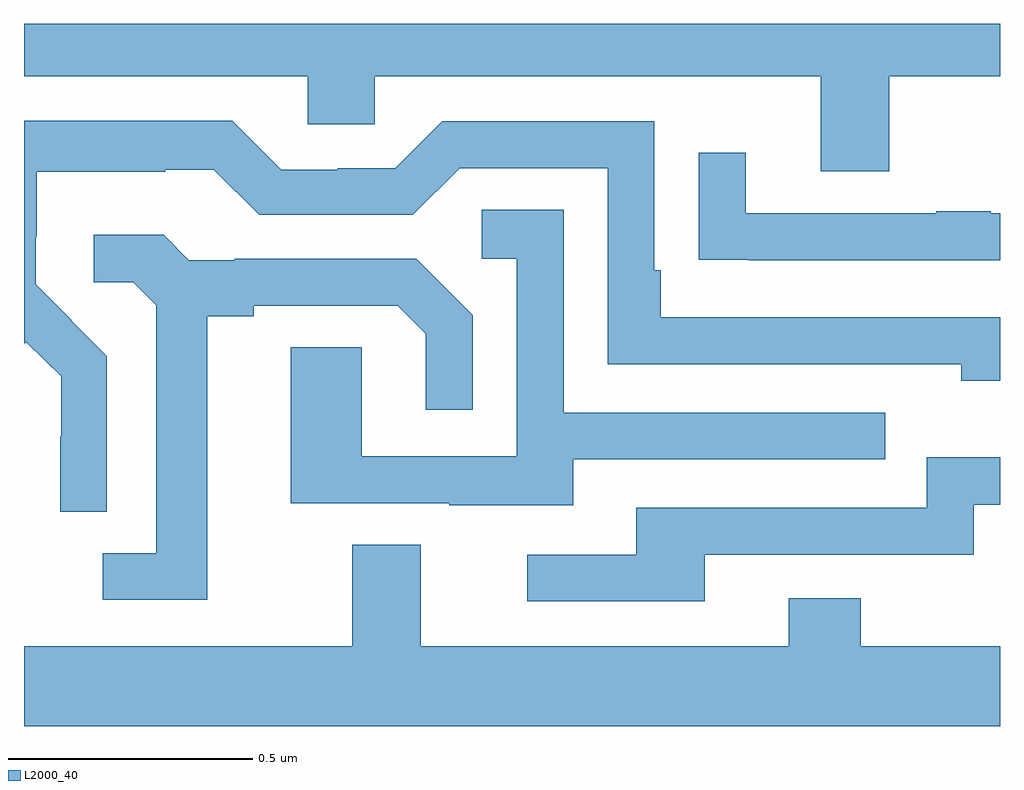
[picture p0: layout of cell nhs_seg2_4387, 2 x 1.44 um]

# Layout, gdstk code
import gdstk
lib = gdstk.Library(unit=1e-6, precision=1e-09)
def P(c, l, *ps):  # polygons
    for p in ps: c.add(gdstk.Polygon(p, *l))
L2000_40 = (2000, 40)

nhs_seg2_4387 = lib.new_cell('nhs_seg2_4387')
P(nhs_seg2_4387, L2000_40, [(166,591.692),(166.581,591.692),(166.581,591.594),(166.719,591.594),(166.719,591.692),(167.633,591.692),(167.633,591.498),(167.773,591.498),(167.773,591.692),(168,591.692),(168,591.8),(166,591.8)],
  [(166.17,591.118),(166.097,591.191),(166.098,591.192),(166.024,591.266),(166.024,591.363),(166.026,591.363),(166.026,591.497),(166.289,591.497),(166.289,591.501),(166.389,591.501),(166.482,591.408),(166.797,591.408),(166.893,591.504),(167.196,591.504),(167.196,591.102),(167.921,591.102),(167.921,591.068),(168,591.068),(168,591.198),(167.305,591.198),(167.305,591.295),(167.292,591.295),(167.292,591.6),(166.857,591.6),(166.761,591.504),(166.643,591.504),(166.643,591.501),(166.527,591.501),(166.427,591.601),(166,591.601),(166,591.146),(166.002,591.144),(166.005,591.147),(166.076,591.077),(166.076,590.954),(166.074,590.954),(166.074,590.8),(166.17,590.8)],
  [(168,591.411),(167.981,591.411),(167.981,591.416),(167.869,591.416),(167.869,591.411),(167.479,591.411),(167.479,591.535),(167.383,591.535),(167.383,591.316),(167.485,591.316),(167.485,591.315),(168,591.315)],
  [(167.125,590.907),(167.765,590.907),(167.765,591.003),(167.106,591.003),(167.106,591.419),(166.938,591.419),(166.938,591.318),(167.01,591.318),(167.01,590.913),(166.692,590.913),(166.692,591.137),(166.547,591.137),(166.547,590.817),(166.871,590.817),(166.871,590.813),(167.125,590.813)],
  [(166.375,591.2),(166.471,591.2),(166.471,591.222),(166.766,591.222),(166.823,591.165),(166.823,591.009),(166.92,591.009),(166.92,591.202),(166.804,591.318),(166.432,591.318),(166.432,591.315),(166.338,591.315),(166.286,591.367),(166.143,591.367),(166.143,591.27),(166.224,591.27),(166.271,591.223),(166.271,590.715),(166.161,590.715),(166.161,590.619),(166.375,590.619)],
  [(167.395,590.712),(167.946,590.712),(167.946,590.814),(168,590.814),(168,590.911),(167.85,590.911),(167.85,590.808),(167.255,590.808),(167.255,590.712),(167.031,590.712),(167.031,590.616),(167.395,590.616)],
  [(168,590.524),(167.715,590.524),(167.715,590.623),(167.567,590.623),(167.567,590.524),(166.813,590.524),(166.813,590.732),(166.673,590.732),(166.673,590.524),(166,590.524),(166,590.36),(168,590.36)])

lib.write_gds('nhs_seg2_4387.gds')
